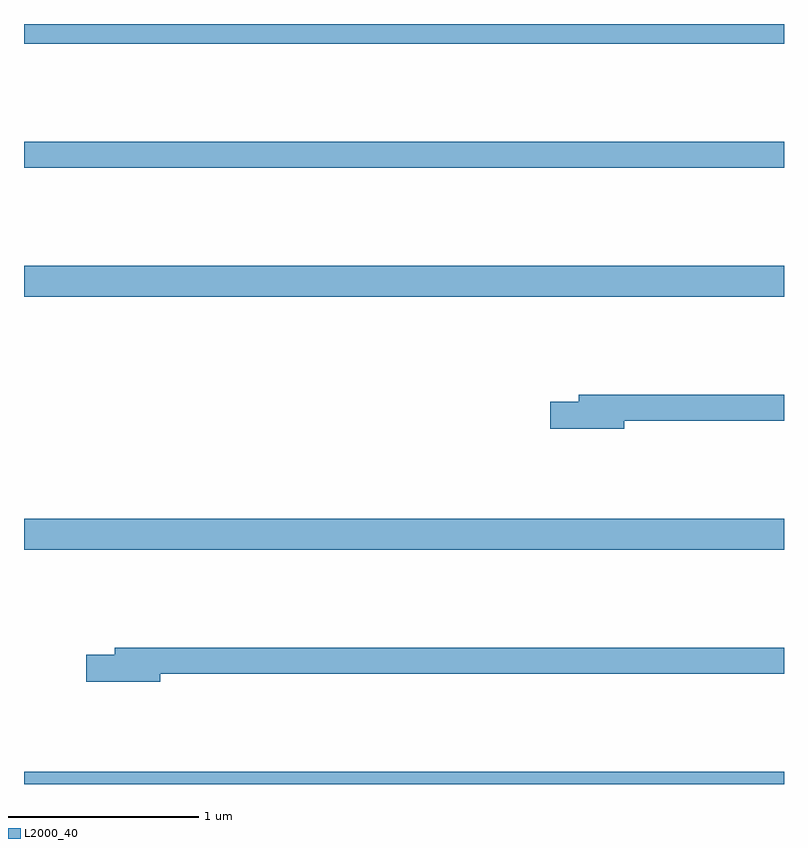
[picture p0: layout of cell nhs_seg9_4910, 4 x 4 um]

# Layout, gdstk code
import gdstk
lib = gdstk.Library(unit=1e-6, precision=1e-09)
def R(c, l, rs):  # rectangles x0, y0, x1, y1
    for r in rs: c.add(gdstk.rectangle(r[:2], r[2:], *l))
def P(c, l, *ps):  # polygons
    for p in ps: c.add(gdstk.Polygon(p, *l))
L2000_40 = (2000, 40)

nhs_seg9_4910 = lib.new_cell('nhs_seg9_4910')
R(nhs_seg9_4910, L2000_40, [(395,1216.5,399,1216.564), (395,1217.732,399,1217.896), (395,1219.064,399,1219.228), (395,1219.744,399,1219.88), (395,1220.396,399,1220.5)])
P(nhs_seg9_4910, L2000_40, [(398.158,1218.412),(399,1218.412),(399,1218.548),(397.919,1218.548),(397.919,1218.512),(397.77,1218.512),(397.77,1218.37),(398.158,1218.37)],
  [(395.716,1217.08),(399,1217.08),(399,1217.216),(395.477,1217.216),(395.477,1217.18),(395.328,1217.18),(395.328,1217.038),(395.716,1217.038)])

lib.write_gds('nhs_seg9_4910.gds')
